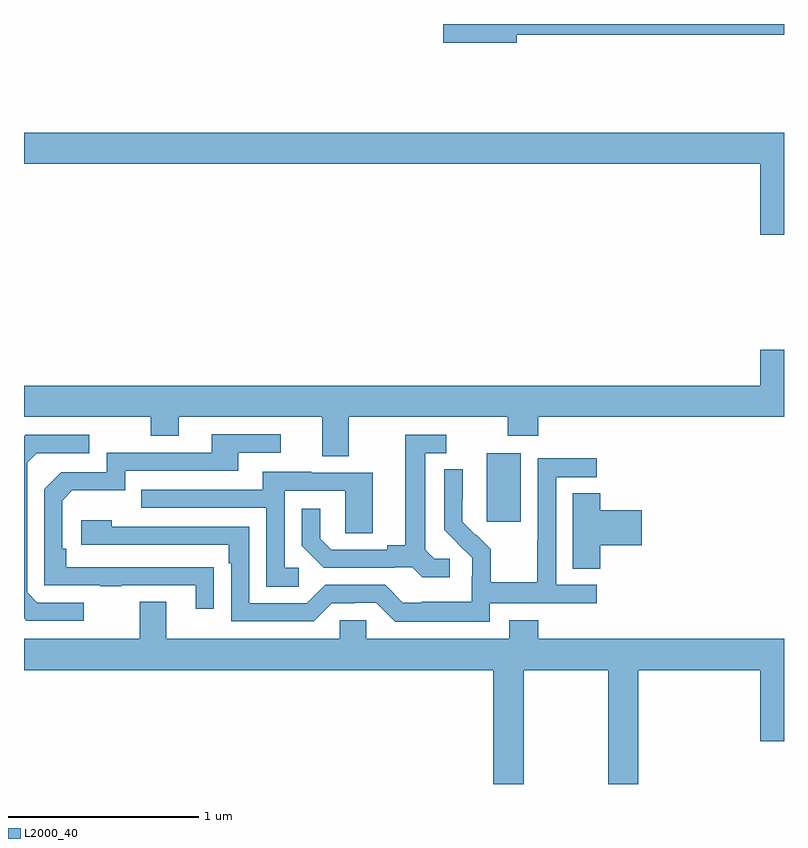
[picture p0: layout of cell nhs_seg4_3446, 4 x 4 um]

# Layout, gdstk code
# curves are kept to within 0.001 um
import gdstk
lib = gdstk.Library(unit=1e-6, precision=1e-09)
def R(c, l, rs):  # rectangles x0, y0, x1, y1
    for r in rs: c.add(gdstk.rectangle(r[:2], r[2:], *l))
def P(c, l, *ps):  # polygons
    for p in ps: c.add(gdstk.Polygon(p, *l))
L2000_40 = (2000, 40)

nhs_seg4_3446 = lib.new_cell('nhs_seg4_3446')
R(nhs_seg4_3446, L2000_40, [(295.436,784.281,295.615,784.642)])
P(nhs_seg4_3446, L2000_40, [(295.594,786.844),(297,786.844),(297,786.9),(295.206,786.9),(295.206,786.802),(295.594,786.802)],
  [(297,786.328),(293,786.328),(293,786.164),(296.876,786.164),(296.876,785.79),(297,785.79)],
  [(294.709,784.832),(295.546,784.832),(295.546,784.733),(295.706,784.733),(295.706,784.832),(297,784.832),(297,785.185),(296.876,785.185),(296.876,784.996),(293,784.996),(293,784.832),(293.668,784.832),(293.668,784.733),(293.815,784.733),(293.815,784.832),(294.569,784.832),(294.569,784.624),(294.709,784.624)],
  [(293.999,784.04),(293.222,784.041),(293.222,784.138),(293.202,784.138),(293.202,784.392),(293.255,784.445),(293.532,784.445),(293.532,784.548),(294.127,784.548),(294.127,784.644),(294.352,784.644),(294.352,784.74),(293.987,784.74),(293.987,784.644),(293.436,784.644),(293.436,784.542),(293.196,784.542),(293.106,784.452),(293.106,783.945),(293.401,783.945),(293.401,783.94),(293.513,783.94),(293.513,783.945),(293.903,783.945),(293.903,783.822),(293.999,783.822)],
  [(295.24,784.086),(295.158,784.086),(295.111,784.133),(295.111,784.641),(295.222,784.641),(295.222,784.737),(295.007,784.737),(295.007,784.157),(294.911,784.157),(294.911,784.134),(294.616,784.134),(294.559,784.191),(294.559,784.348),(294.462,784.348),(294.462,784.154),(294.578,784.038),(294.95,784.038),(294.95,784.041),(295.044,784.041),(295.096,783.989),(295.24,783.989)],
  [(293.314,783.855),(293.07,783.855),(293.016,783.909),(293.016,784.59),(293.067,784.641),(293.344,784.641),(293.344,784.737),(293.007,784.737),(293,784.73),(293,783.772),(293.013,783.759),(293.314,783.759)],
  [(295.452,783.852),(296.014,783.852),(296.014,783.948),(295.8,783.948),(295.8,784.515),(296.014,784.515),(296.014,784.614),(295.704,784.614),(295.704,784.184),(295.702,784.184),(295.702,783.961),(295.457,783.961),(295.457,784.135),(295.38,784.212),(295.377,784.209),(295.307,784.28),(295.308,784.556),(295.212,784.556),(295.212,784.238),(295.358,784.09),(295.358,783.993),(295.356,783.993),(295.356,783.859),(295.093,783.859),(295.093,783.855),(294.993,783.855),(294.9,783.948),(294.585,783.948),(294.489,783.852),(294.186,783.852),(294.186,784.254),(293.462,784.254),(293.462,784.288),(293.301,784.288),(293.301,784.158),(294.077,784.158),(294.077,784.061),(294.09,784.061),(294.09,783.756),(294.525,783.756),(294.621,783.852),(294.74,783.852),(294.74,783.855),(294.855,783.855),(294.955,783.755),(295.452,783.755)],
  [(294.445,784.038),(294.372,784.038),(294.372,784.443),(294.69,784.443),(294.69,784.219),(294.835,784.219),(294.835,784.539),(294.511,784.539),(294.511,784.543),(294.257,784.543),(294.257,784.449),(293.617,784.449),(293.617,784.353),(294.276,784.353),(294.276,783.937),(294.445,783.937)],
  [(296.033,784.157),(296.251,784.157),(296.251,784.34),(296.033,784.34),(296.033,784.43),(295.889,784.43),(295.889,784.033),(296.033,784.033)],
  [(295.629,783.5),(296.074,783.5),(296.074,782.9),(296.234,782.9),(296.234,783.5),(296.876,783.5),(296.876,783.126),(297,783.126),(297,783.664),(295.706,783.664),(295.706,783.763),(295.553,783.763),(295.553,783.664),(294.801,783.664),(294.801,783.762),(294.663,783.762),(294.663,783.664),(293.749,783.664),(293.749,783.859),(293.609,783.859),(293.609,783.664),(293,783.664),(293,783.5),(295.469,783.5),(295.469,782.9),(295.629,782.9)])

lib.write_gds('nhs_seg4_3446.gds')
